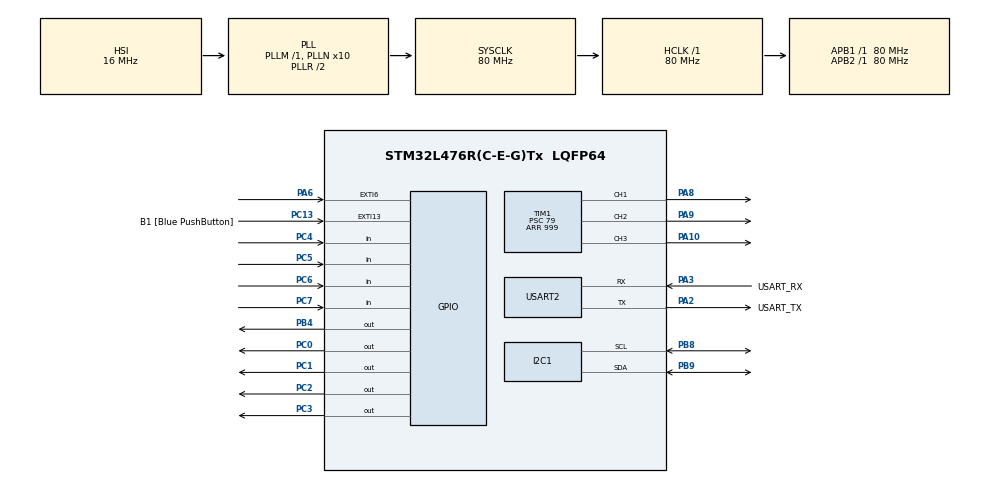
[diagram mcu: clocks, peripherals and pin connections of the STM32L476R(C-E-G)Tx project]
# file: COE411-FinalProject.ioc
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FREERTOS.BinarySemaphores01=pirSem,Dynamic,NULL,Available
FREERTOS.Queues01=eventQueue,10,uint32_t,0,Dynamic,NULL,NULL;lcdQueue,5,34,1,Dynamic,NULL,NULL
FREERTOS.Tasks01=defaultTask,24,128,StartDefaultTask,Default,NULL,Dynamic,NULL,NULL;stateTask,32,512,stateTaskFunction,Default,NULL,Dynamic,NULL,NULL;keypadTask,24,512,keypadTaskFunction,Default,NULL,Dynamic,NULL,NULL;lcdTask,16,512,lcdTaskFunction,Default,NULL,Dynamic,NULL,NULL;pirTask,40,512,pirTaskFunction,Default,NULL,Dynamic,NULL,NULL
FREERTOS.configTOTAL_HEAP_SIZE=20000
I2C1.Timing=0x10D19CE4
Mcu.Family=STM32L4
Mcu.Name=STM32L476R(C-E-G)Tx
Mcu.Package=LQFP64
NVIC.EXTI9_5_IRQn=true\:5\:0\:false\:false\:true\:true\:true\:true\:true
NVIC.PriorityGroup=NVIC_PRIORITYGROUP_4
NVIC.TIM6_DAC_IRQn=true\:15\:0\:false\:false\:true\:false\:false\:true\:true
NVIC.TimeBase=TIM6_DAC_IRQn
NVIC.TimeBaseIP=TIM6
PA10.Signal=S_TIM1_CH3
PA13\ (JTMS-SWDIO).GPIO_Label=TMS
PA13\ (JTMS-SWDIO).Mode=Serial_Wire
PA13\ (JTMS-SWDIO).Signal=SYS_JTMS-SWDIO
PA14\ (JTCK-SWCLK).GPIO_Label=TCK
PA14\ (JTCK-SWCLK).Mode=Serial_Wire
PA14\ (JTCK-SWCLK).Signal=SYS_JTCK-SWCLK
PA2.GPIO_Label=USART_TX
PA2.GPIO_Mode=GPIO_MODE_AF_PP
PA2.GPIO_PuPd=GPIO_NOPULL
PA2.GPIO_Speed=GPIO_SPEED_FREQ_VERY_HIGH
PA2.Mode=Asynchronous
PA2.Signal=USART2_TX
PA3.GPIO_Label=USART_RX
PA3.GPIO_Mode=GPIO_MODE_AF_PP
PA3.GPIO_PuPd=GPIO_NOPULL
PA3.GPIO_Speed=GPIO_SPEED_FREQ_VERY_HIGH
PA3.Mode=Asynchronous
PA3.Signal=USART2_RX
PA6.GPIO_ModeDefaultEXTI=GPIO_MODE_IT_RISING_FALLING
PA6.GPIO_PuPd=GPIO_NOPULL
PA6.Signal=GPXTI6
PA8.Signal=S_TIM1_CH1
PA9.Signal=S_TIM1_CH2
PB3\ (JTDO-TRACESWO).GPIO_Label=SWO
PB3\ (JTDO-TRACESWO).Signal=SYS_JTDO-SWO
PB4\ (NJTRST).Signal=GPIO_Output
PB8.GPIO_Pu=GPIO_PULLUP
PB8.Mode=I2C
PB8.Signal=I2C1_SCL
PB9.GPIO_Pu=GPIO_PULLUP
PB9.Mode=I2C
PB9.Signal=I2C1_SDA
PC0.Signal=GPIO_Output
PC1.Signal=GPIO_Output
PC13.GPIO_Label=B1 [Blue PushButton]
PC13.GPIO_ModeDefaultEXTI=GPIO_MODE_IT_FALLING
PC13.GPIO_PuPd=GPIO_NOPULL
PC13.Signal=GPXTI13
PC14-OSC32_IN\ (PC14).Mode=LSE-External-Oscillator
PC14-OSC32_IN\ (PC14).Signal=RCC_OSC32_IN
PC15-OSC32_OUT\ (PC15).Mode=LSE-External-Oscillator
PC15-OSC32_OUT\ (PC15).Signal=RCC_OSC32_OUT
PC2.Signal=GPIO_Output
PC3.Signal=GPIO_Output
PC4.GPIO_PuPd=GPIO_PULLDOWN
PC4.Signal=GPIO_Input
PC5.GPIO_PuPd=GPIO_PULLDOWN
PC5.Signal=GPIO_Input
PC6.GPIO_PuPd=GPIO_PULLDOWN
PC6.Signal=GPIO_Input
PC7.GPIO_PuPd=GPIO_PULLDOWN
PC7.Signal=GPIO_Input
PH0-OSC_IN\ (PH0).Signal=RCC_OSC_IN
PH1-OSC_OUT\ (PH1).Signal=RCC_OSC_OUT
ProjectManager.HeapSize=0x200
ProjectManager.StackSize=0x400
ProjectManager.TargetToolchain=STM32CubeIDE
RCC.ADCFreq_Value=64000000
RCC.AHBFreq_Value=80000000
RCC.APB1Freq_Value=80000000
RCC.APB1TimFreq_Value=80000000
RCC.APB2Freq_Value=80000000
RCC.APB2TimFreq_Value=80000000
RCC.CortexFreq_Value=80000000
RCC.HCLKFreq_Value=80000000
RCC.HSE_VALUE=8000000
RCC.HSI_VALUE=16000000
RCC.MSI_VALUE=4000000
RCC.PLLN=10
RCC.PLLSourceVirtual=RCC_PLLSOURCE_HSI
RCC.PREFETCH_ENABLE=1
RCC.SYSCLKFreq_VALUE=80000000
RCC.SYSCLKSource=RCC_SYSCLKSOURCE_PLLCLK
RCC.USBFreq_Value=64000000
RCC.VCOOutputFreq_Value=160000000
SH.S_TIM1_CH1.0=TIM1_CH1,PWM Generation1 CH1
SH.S_TIM1_CH2.0=TIM1_CH2,PWM Generation2 CH2
SH.S_TIM1_CH3.0=TIM1_CH3,PWM Generation3 CH3
TIM1.Channel-PWM\ Generation1\ CH1=TIM_CHANNEL_1
TIM1.Channel-PWM\ Generation2\ CH2=TIM_CHANNEL_2
TIM1.Channel-PWM\ Generation3\ CH3=TIM_CHANNEL_3
TIM1.Period=999
TIM1.Prescaler=79
USART2.VirtualMode-Asynchronous=VM_ASYNC
VP_FREERTOS_VS_CMSIS_V2.Mode=CMSIS_V2
VP_SYS_VS_tim6.Mode=TIM6
board=NUCLEO-L476RG

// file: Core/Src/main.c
/* USER CODE BEGIN Header */
/**
  ******************************************************************************
  * @file           : main.c
  * @brief          : Main program body
  ******************************************************************************
  * @attention
  *
  * Copyright (c) 2026 STMicroelectronics.
  * All rights reserved.
  *
  * This software is licensed under terms that can be found in the LICENSE file
  * in the root directory of this software component.
  * If no LICENSE file comes with this software, it is provided AS-IS.
  *
  ******************************************************************************
  */
/* USER CODE END Header */
#include "main.h"
#include "cmsis_os.h"
#include "i2c.h"
#include "tim.h"
#include "usart.h"
#include "gpio.h"

/* USER CODE BEGIN Includes */
#include "keypad.h"
/* USER CODE END Includes */

/* USER CODE BEGIN PV */
extern osSemaphoreId_t pirSemHandle;
/* USER CODE END PV */

void SystemClock_Config(void);
void MX_FREERTOS_Init(void);

int main(void)
{

  /* MCU Configuration--------------------------------------------------------*/

  /* Reset of all peripherals, Initializes the Flash interface and the Systick. */
  HAL_Init();

  /* Configure the system clock */
  SystemClock_Config();

  /* Initialize all configured peripherals */
  MX_GPIO_Init();
  MX_USART2_UART_Init();
  MX_I2C1_Init();
  MX_TIM1_Init();
  /* USER CODE BEGIN 2 */
  Keypad_Init();
  HAL_GPIO_WritePin(GPIOB, GPIO_PIN_4, GPIO_PIN_RESET);
  HAL_TIM_PWM_Start(&htim1, TIM_CHANNEL_1);
  HAL_TIM_PWM_Start(&htim1, TIM_CHANNEL_2);
  HAL_TIM_PWM_Start(&htim1, TIM_CHANNEL_3);
  /* USER CODE END 2 */

  /* Init scheduler */
  osKernelInitialize();  /* Call init function for freertos objects (in cmsis_os2.c) */
  MX_FREERTOS_Init();

  /* Start scheduler */
  osKernelStart();

  /* We should never get here as control is now taken by the scheduler */

  /* Infinite loop */
  while (1)
  {

  }
}

void SystemClock_Config(void)
{
  RCC_OscInitTypeDef RCC_OscInitStruct = {0};
  RCC_ClkInitTypeDef RCC_ClkInitStruct = {0};

  /** Configure the main internal regulator output voltage
  */
  if (HAL_PWREx_ControlVoltageScaling(PWR_REGULATOR_VOLTAGE_SCALE1) != HAL_OK)
  {
    Error_Handler();
  }

  /** Initializes the RCC Oscillators according to the specified parameters
  * in the RCC_OscInitTypeDef structure.
  */
  RCC_OscInitStruct.OscillatorType = RCC_OSCILLATORTYPE_HSI;
  RCC_OscInitStruct.HSIState = RCC_HSI_ON;
  RCC_OscInitStruct.HSICalibrationValue = RCC_HSICALIBRATION_DEFAULT;
  RCC_OscInitStruct.PLL.PLLState = RCC_PLL_ON;
  RCC_OscInitStruct.PLL.PLLSource = RCC_PLLSOURCE_HSI;
  RCC_OscInitStruct.PLL.PLLM = 1;
  RCC_OscInitStruct.PLL.PLLN = 10;
  RCC_OscInitStruct.PLL.PLLP = RCC_PLLP_DIV7;
  RCC_OscInitStruct.PLL.PLLQ = RCC_PLLQ_DIV2;
  RCC_OscInitStruct.PLL.PLLR = RCC_PLLR_DIV2;
  if (HAL_RCC_OscConfig(&RCC_OscInitStruct) != HAL_OK)
  {
    Error_Handler();
  }

  /** Initializes the CPU, AHB and APB buses clocks
  */
  RCC_ClkInitStruct.ClockType = RCC_CLOCKTYPE_HCLK|RCC_CLOCKTYPE_SYSCLK
                              |RCC_CLOCKTYPE_PCLK1|RCC_CLOCKTYPE_PCLK2;
  RCC_ClkInitStruct.SYSCLKSource = RCC_SYSCLKSOURCE_PLLCLK;
  RCC_ClkInitStruct.AHBCLKDivider = RCC_SYSCLK_DIV1;
  RCC_ClkInitStruct.APB1CLKDivider = RCC_HCLK_DIV1;
  RCC_ClkInitStruct.APB2CLKDivider = RCC_HCLK_DIV1;

  if (HAL_RCC_ClockConfig(&RCC_ClkInitStruct, FLASH_LATENCY_4) != HAL_OK)
  {
    Error_Handler();
  }
}

/* USER CODE BEGIN 4 */
void HAL_GPIO_EXTI_Callback(uint16_t GPIO_Pin)
{
  if (GPIO_Pin == GPIO_PIN_6)
  {
    osSemaphoreRelease(pirSemHandle);
  }
}
/* USER CODE END 4 */

void HAL_TIM_PeriodElapsedCallback(TIM_HandleTypeDef *htim)
{
  if (htim->Instance == TIM6)
  {
    HAL_IncTick();
  }
}

void Error_Handler(void)
{
  __disable_irq();
  while (1)
  {
  }
}

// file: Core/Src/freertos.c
/* USER CODE BEGIN Header */
/**
  ******************************************************************************
  * File Name          : freertos.c
  * Description        : Code for freertos applications
  ******************************************************************************
  * @attention
  *
  * Copyright (c) 2026 STMicroelectronics.
  * All rights reserved.
  *
  * This software is licensed under terms that can be found in the LICENSE file
  * in the root directory of this software component.
  * If no LICENSE file comes with this software, it is provided AS-IS.
  *
  ******************************************************************************
  */
/* USER CODE END Header */

#include "FreeRTOS.h"
#include "task.h"
#include "main.h"
#include "cmsis_os.h"

/* USER CODE BEGIN Includes */
#include <string.h>
#include <stdio.h>
#include "tim.h"
#include "lcd_i2c.h"
#include "keypad.h"
/* USER CODE END Includes */

/* USER CODE BEGIN PTD */
typedef struct {
  char line1[17];
  char line2[17];
} LCD_Msg_t;
/* USER CODE END PTD */

/* USER CODE BEGIN PD */
#define DISARMED 0
#define ARMED 1
#define ALARM 2
#define MOTION 0x100
/* USER CODE END PD */

/* USER CODE BEGIN Variables */
volatile uint8_t pirEnabled = 0;
uint8_t state = DISARMED;
uint8_t arming = 0;
uint32_t startTime = 0;
int lastSecs = 10;
char code[5];
char stars[5];
uint8_t count = 0;
/* USER CODE END Variables */
/* Definitions for defaultTask */
osThreadId_t defaultTaskHandle;
const osThreadAttr_t defaultTask_attributes = {
  .name = "defaultTask",
  .stack_size = 128 * 4,
  .priority = (osPriority_t) osPriorityNormal,
};
/* Definitions for stateTask */
osThreadId_t stateTaskHandle;
const osThreadAttr_t stateTask_attributes = {
  .name = "stateTask",
  .stack_size = 512 * 4,
  .priority = (osPriority_t) osPriorityAboveNormal,
};
/* Definitions for keypadTask */
osThreadId_t keypadTaskHandle;
const osThreadAttr_t keypadTask_attributes = {
  .name = "keypadTask",
  .stack_size = 512 * 4,
  .priority = (osPriority_t) osPriorityNormal,
};
/* Definitions for lcdTask */
osThreadId_t lcdTaskHandle;
const osThreadAttr_t lcdTask_attributes = {
  .name = "lcdTask",
  .stack_size = 512 * 4,
  .priority = (osPriority_t) osPriorityBelowNormal,
};
/* Definitions for pirTask */
osThreadId_t pirTaskHandle;
const osThreadAttr_t pirTask_attributes = {
  .name = "pirTask",
  .stack_size = 512 * 4,
  .priority = (osPriority_t) osPriorityHigh,
};
/* Definitions for eventQueue */
osMessageQueueId_t eventQueueHandle;
const osMessageQueueAttr_t eventQueue_attributes = {
  .name = "eventQueue"
};
/* Definitions for lcdQueue */
osMessageQueueId_t lcdQueueHandle;
const osMessageQueueAttr_t lcdQueue_attributes = {
  .name = "lcdQueue"
};
/* Definitions for pirSem */
osSemaphoreId_t pirSemHandle;
const osSemaphoreAttr_t pirSem_attributes = {
  .name = "pirSem"
};

/* USER CODE BEGIN FunctionPrototypes */
void SetColor(uint8_t red, uint8_t green, uint8_t blue);
void ShowLcd(const char *a, const char *b);
void ShowCode(void);
void StartAlarm(void);
void Disarm(void);
/* USER CODE END FunctionPrototypes */

void StartDefaultTask(void *argument);
void stateTaskFunction(void *argument);
void keypadTaskFunction(void *argument);
void lcdTaskFunction(void *argument);
void pirTaskFunction(void *argument);

void MX_FREERTOS_Init(void); /* (MISRA C 2004 rule 8.1) */

void MX_FREERTOS_Init(void) {

  /* Create the semaphores(s) */
  /* creation of pirSem */
  pirSemHandle = osSemaphoreNew(1, 1, &pirSem_attributes);

  /* Create the queue(s) */
  /* creation of eventQueue */
  eventQueueHandle = osMessageQueueNew (10, sizeof(uint32_t), &eventQueue_attributes);

  /* creation of lcdQueue */
  lcdQueueHandle = osMessageQueueNew (5, 34, &lcdQueue_attributes);

  /* Create the thread(s) */
  /* creation of defaultTask */
  defaultTaskHandle = osThreadNew(StartDefaultTask, NULL, &defaultTask_attributes);

  /* creation of stateTask */
  stateTaskHandle = osThreadNew(stateTaskFunction, NULL, &stateTask_attributes);

  /* creation of keypadTask */
  keypadTaskHandle = osThreadNew(keypadTaskFunction, NULL, &keypadTask_attributes);

  /* creation of lcdTask */
  lcdTaskHandle = osThreadNew(lcdTaskFunction, NULL, &lcdTask_attributes);

  /* creation of pirTask */
  pirTaskHandle = osThreadNew(pirTaskFunction, NULL, &pirTask_attributes);

}

void StartDefaultTask(void *argument)
{
  for(;;)
  {
    osDelay(1);
  }
}

void stateTaskFunction(void *argument)
{
  /* USER CODE BEGIN stateTaskFunction */
  uint32_t ev;
  uint32_t timeout;
  SetColor(0, 255, 0);
  ShowLcd("SYSTEM DISARMED", "Press A to arm");
  for(;;)
  {
    if (arming)
    {
      timeout = 100;
    }
    else
    {
      timeout = osWaitForever;
    }
    if (osMessageQueueGet(eventQueueHandle, &ev, NULL, timeout) == osOK)
    {
      if (ev == MOTION)
      {
        if (state == ARMED)
        {
          StartAlarm();
        }
      }
      else if (state == DISARMED)
      {
        if (ev == 'A')
        {
          state = ARMED;
          arming = 1;
          startTime = HAL_GetTick();
          lastSecs = 10;
          count = 0;
          stars[0] = '\0';
          SetColor(0, 0, 255);
          ShowLcd("ARMING...", "Leave in 10s");
        }
      }
      else
      {
        if (ev == '#')
        {
          count = 0;
          stars[0] = '\0';
          ShowCode();
        }
        else if (ev >= '0' && ev <= '9')
        {
          code[count] = (char)ev;
          stars[count] = '*';
          count++;
          code[count] = '\0';
          stars[count] = '\0';
          if (count < 4)
          {
            ShowCode();
          }
          else if (strcmp(code, "1234") == 0)
          {
            Disarm();
          }
          else
          {
            count = 0;
            stars[0] = '\0';
            if (state == ALARM)
            {
              ShowLcd("!! INTRUDER !!", "Wrong code");
            }
            else if (arming)
            {
              ShowLcd("ARMING...", "Wrong code");
            }
            else
            {
              ShowLcd("SYSTEM ARMED", "Wrong code");
            }
          }
        }
      }
    }
    if (arming && HAL_GetTick() - startTime >= 10000)
    {
      arming = 0;
      osSemaphoreAcquire(pirSemHandle, 0);
      pirEnabled = 1;
      if (count == 0)
      {
        ShowLcd("SYSTEM ARMED", "Code to disarm");
      }
      else
      {
        ShowCode();
      }
      if (HAL_GPIO_ReadPin(GPIOA, GPIO_PIN_6) == GPIO_PIN_SET)
      {
        StartAlarm();
      }
    }
    else if (arming && count == 0)
        {
          int left = 10 - (HAL_GetTick() - startTime) / 1000;
          if (left != lastSecs)
          {
            lastSecs = left;
            char line[17];
            sprintf(line, "Leave in %ds", left);
            ShowLcd("ARMING...", line);
          }
        }
  }
  /* USER CODE END stateTaskFunction */
}

void keypadTaskFunction(void *argument)
{
  /* USER CODE BEGIN keypadTaskFunction */
  for(;;)
  {
    char key = Keypad_Scan();
    if (key)
    {
      uint32_t ev = key;
      osMessageQueuePut(eventQueueHandle, &ev, 0, osWaitForever);
    }
    osDelay(20);
  }
  /* USER CODE END keypadTaskFunction */
}

void lcdTaskFunction(void *argument)
{
  /* USER CODE BEGIN lcdTaskFunction */
  LCD_Msg_t m;
  LCD_Init();
  for(;;)
  {
    if (osMessageQueueGet(lcdQueueHandle, &m, NULL, osWaitForever) == osOK)
    {
      LCD_Clear();
      LCD_SetCursor(0, 0);
      LCD_Print(m.line1);
      LCD_SetCursor(1, 0);
      LCD_Print(m.line2);
    }
  }
  /* USER CODE END lcdTaskFunction */
}

void pirTaskFunction(void *argument)
{
  /* USER CODE BEGIN pirTaskFunction */
  uint32_t ev = MOTION;
  for(;;)
  {
    if (osSemaphoreAcquire(pirSemHandle, osWaitForever) == osOK)
    {
      if (pirEnabled && HAL_GPIO_ReadPin(GPIOA, GPIO_PIN_6) == GPIO_PIN_SET)
      {
        osMessageQueuePut(eventQueueHandle, &ev, 0, osWaitForever);
      }
    }
  }
  /* USER CODE END pirTaskFunction */
}

/* USER CODE BEGIN Application */
void SetColor(uint8_t red, uint8_t green, uint8_t blue)
{
  uint32_t arr = __HAL_TIM_GET_AUTORELOAD(&htim1);
  __HAL_TIM_SET_COMPARE(&htim1, TIM_CHANNEL_1, (red * arr) / 255);
  __HAL_TIM_SET_COMPARE(&htim1, TIM_CHANNEL_2, (green * arr) / 255);
  __HAL_TIM_SET_COMPARE(&htim1, TIM_CHANNEL_3, (blue * arr) / 255);
}

void ShowLcd(const char *a, const char *b)
{
  LCD_Msg_t m;
  strcpy(m.line1, a);
  strcpy(m.line2, b);
  osMessageQueuePut(lcdQueueHandle, &m, 0, 20);
}

void ShowCode(void)
{
  char line[17];
  sprintf(line, "Code: %s", stars);
  if (state == ALARM)
  {
    ShowLcd("!! INTRUDER !!", line);
  }
  else if (arming)
  {
    ShowLcd("ARMING...", line);
  }
  else
  {
    ShowLcd("SYSTEM ARMED", line);
  }
}

void StartAlarm(void)
{
  state = ALARM;
  arming = 0;
  pirEnabled = 0;
  count = 0;
  stars[0] = '\0';
  HAL_GPIO_WritePin(GPIOB, GPIO_PIN_4, GPIO_PIN_SET);
  SetColor(255, 0, 0);
  ShowLcd("!! INTRUDER !!", "Enter code");
}

void Disarm(void)
{
  state = DISARMED;
  arming = 0;
  pirEnabled = 0;
  count = 0;
  stars[0] = '\0';
  HAL_GPIO_WritePin(GPIOB, GPIO_PIN_4, GPIO_PIN_RESET);
  SetColor(0, 255, 0);
  ShowLcd("SYSTEM DISARMED", "Press A to arm");
}
/* USER CODE END Application */
